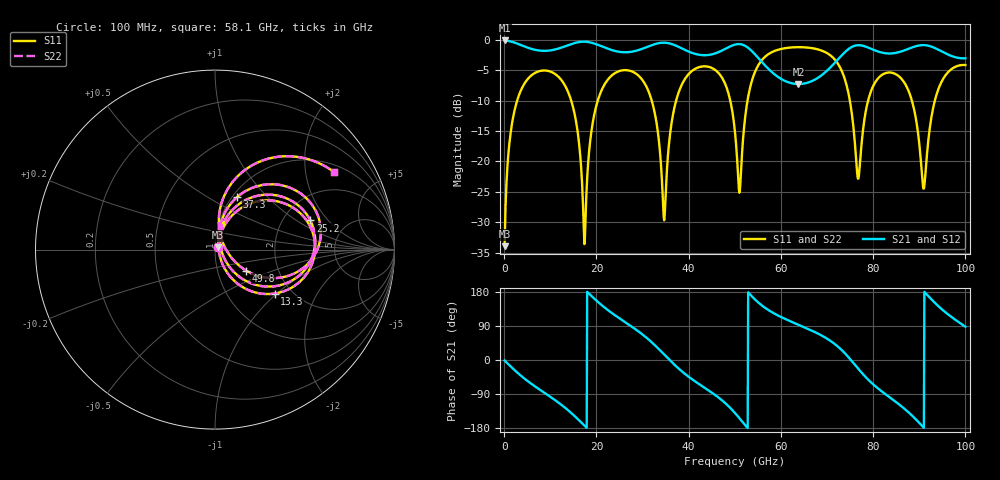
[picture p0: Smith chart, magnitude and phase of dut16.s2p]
! Touchstone file exported from HFSS 2026.1.0
!  File:  C:/ffzhzh/LocalFiles/Ansys_Project_Files/temp_train_TSV_RDL_16_1783437914_28540.aedt
!  Generated:  11:39:10 PM Jul  7, 2026
!  Design:  TSV_RDL
!  Project:  temp_train_TSV_RDL_16_1783437914_28540
! Variables:
!  h_bsmrdl = 4.18um
!  h_ox = 20um
!  h_rdl = 5um
!  h_sub = 89.95um
!  h_tmrdl = 3.23um
!  h_tsv = 89.95um
!  h_via = 3um
!  l_bsmrdl = 190.87um
!  l_sub = 3177.1um
!  l_tmrdl = 521.91um
!  m_sub = 200um
!  pitch = 56.67um
!  r_tsv = 10.28um
!  s_tmrdl = 10um
!  w_bsmrdl = 18.7um
!  w_sub = 500um
!  w_tmrdl = 20.25um
!  x_tsv_center1 = 532.035um
!  x_tsv_center2 = 741.605um
!  x_tsv_center3 = 1283.765um
!  x_tsv_center4 = 1493.335um
!  x_tsv_center5 = 2035.495um
!  x_tsv_center6 = 2245.065um
# GHz S MA R 50.000000
! Terminal data exported
! Port[1] = TM_RDL1_1_T1
! Port[2] = TM_RDL5_1_T1
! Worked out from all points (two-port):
!   1000 points, 100 MHz to 100 GHz, reference 50 ohm
!   highest |S21| = -0.13 dB at 100 MHz (marker M1); lowest = -7.3 dB at 63.8 GHz (marker M2)
!   |S21| within 3 dB of the highest: start of sweep to 55.24 GHz; 72.51 GHz to end of sweep
!   lowest |S11| = -33.9 dB at 100 MHz (marker M3), VSWR 1.04, Z = 51.5 + j1.34 ohm
!   |S11| at or under -10 dB: 14.53 GHz to 20.3 GHz (5.773 GHz wide, 33.1 % of centre); 31.99 GHz to 37.29 GHz (5.299 GHz wide, 15.3 % of centre); 88.39 GHz to 93.38 GHz (4.991 GHz wide, 5.49 % of centre) (the widest 3 of 6)
!   |S22| runs from -33.9 to -1.2 dB; largest |S21 - S12| = 3.1e-13
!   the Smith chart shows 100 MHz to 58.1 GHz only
!   S11 on the Smith chart (normalised r, x): 100 MHz: 1.03, +0.03; 13.3 GHz: 1.64, -0.97; 25.2 GHz: 2.81, +1.32; 37.3 GHz: 1.05, +0.68; 49.8 GHz: 1.37, -0.34; 58.1 GHz: 1.24, +2.87
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0.1  0.02015 40.0  0.9848 -1.3  0.9848 -1.3  0.02015 40.0
! Gamma 0 0 0 0
! Port Impedance 50 0 50 0
3.7  0.3883 44.9  0.901 -42.1  0.901 -42.1  0.3883 44.9
13.3  0.4128 -36.4  0.8846 -126.9  0.8846 -126.9  0.4128 -36.4
16.8  0.07679 -61.5  0.9609 -165.7  0.9609 -165.7  0.07674 -61.8
25.2  0.5555 17.0  0.7919 108.2  0.7919 108.2  0.5554 17.0
33.4  0.1656 -49.7  0.9338 30.5  0.9338 30.5  0.1653 -50.0
34.7  0.03286 16.4  0.9438 14.5  0.9438 14.5  0.03178 16.7
37.3  0.3174 67.1  0.8908 -16.8  0.8908 -16.8  0.3174 67.3
44.2  0.5997 10.6  0.7477 -79.3  0.7477 -79.3  0.5997 10.6
49.8  0.2102 -33.9  0.9048 -136.6  0.9048 -136.6  0.2101 -34.0
50.1  0.1655 -33.6  0.9117 -140.7  0.9117 -140.7  0.1654 -33.6
51.1  0.05755 39.0  0.9186 -155.0  0.9186 -155.0  0.05736 39.2
53.5  0.4296 72.7  0.8193 170.7  0.8193 170.7  0.4297 72.7
58.1  0.7911 33.2  0.5391 125.8  0.5391 125.8  0.7912 33.2
63.8  0.8674 2.8  0.4319 93.1  0.4319 93.1  0.8675 2.7
66.7  0.8521 -11.5  0.4563 77.7  0.4563 77.7  0.8522 -11.6
73.5  0.5181 -60.4  0.7641 22.4  0.7641 22.4  0.5179 -60.6
76.7  0.07226 -27.1  0.9004 -22.0  0.9004 -22.0  0.07009 -27.3
83.4  0.5371 -7.6  0.7697 -96.9  0.7697 -96.9  0.537 -7.4
91  0.05987 6.5  0.9019 -178.9  0.9019 -178.9  0.06175 6.5
94.1  0.3885 44.8  0.8279 142.6  0.8279 142.6  0.3888 44.6
100  0.6187 -2.2  0.7027 87.7  0.7027 87.7  0.6188 -2.4
